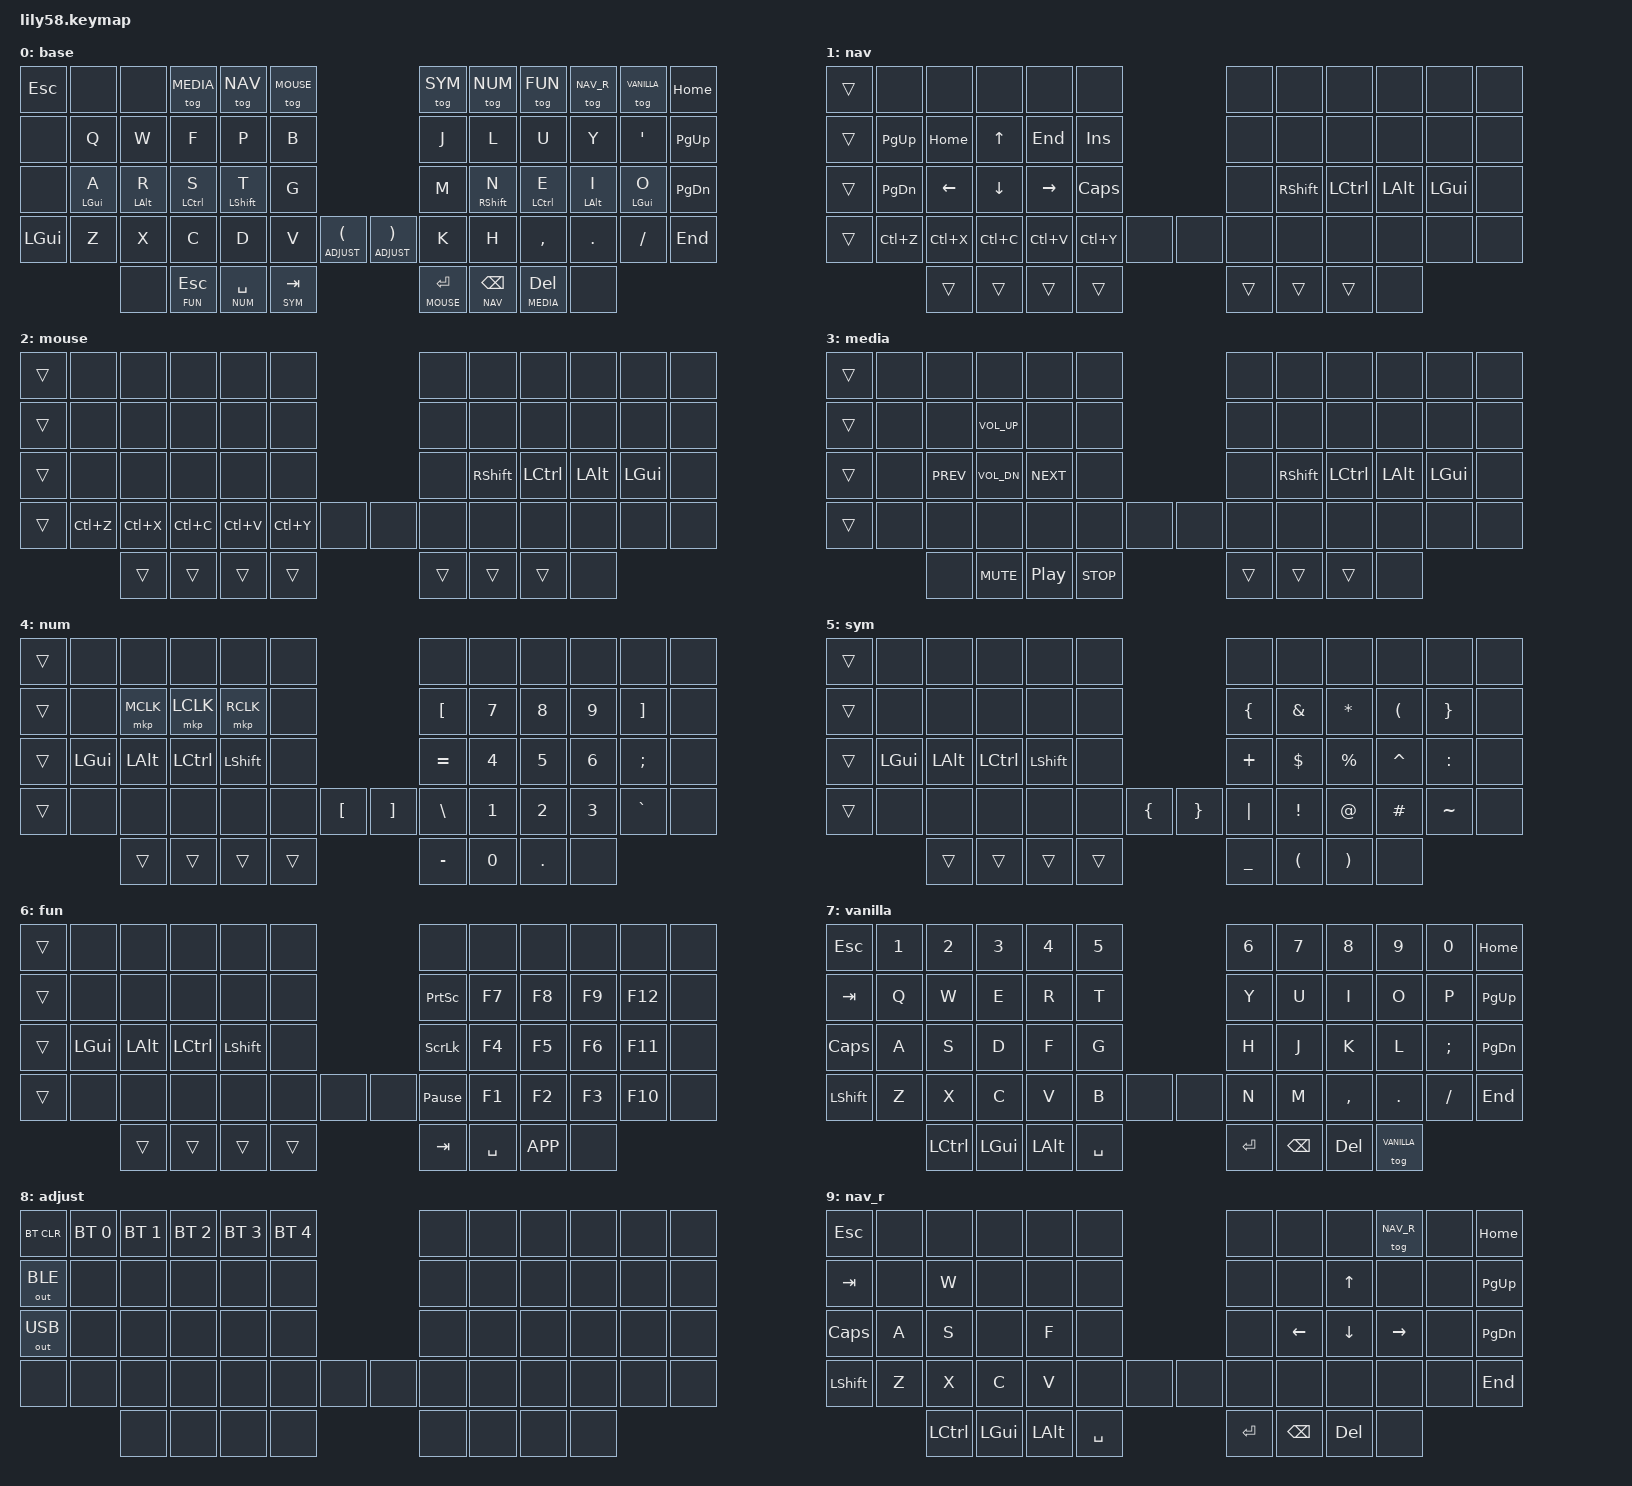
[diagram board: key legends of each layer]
/*
 * Copyright (c) 2020 The ZMK Contributors
 *
 * SPDX-License-Identifier: MIT
 */

#include <behaviors.dtsi>
#include <dt-bindings/zmk/keys.h>
#include <dt-bindings/zmk/bt.h>
#include <dt-bindings/zmk/ext_power.h>
#include <dt-bindings/zmk/outputs.h>
#include <dt-bindings/zmk/mouse.h>
#include "../zmk-nodefree-config/helper.h"

#define BASE    0
#define NAV     1
#define MOUSE   2
#define MEDIA   3
#define NUM     4
#define SYM     5
#define FUN     6
#define VANILLA 7
#define ADJUST  8
#define NAV_R   9

&lt {
    quick_tap_ms = <200>;
};

&mmv {
    time-to-max-speed-ms = <50>;
};

&mwh {
    acceleration-exponent=<1>;
};

/ {
    behaviors {
        hm: homerow_mods {
            compatible = "zmk,behavior-hold-tap";
            label = "HOMEROW_MODS";
            #binding-cells = <2>;
            tapping-term-ms = <200>;
            quick_tap_ms = <200>;
            flavor = "tap-preferred";
            bindings = <&kp>, <&kp>;
        };
    };

	keymap {
		compatible = "zmk,keymap";

		base {
			bindings = <
&kp ESC         &none           &none           &tog MEDIA      &tog NAV        &tog MOUSE                              &tog SYM        &tog NUM        &tog FUN        &tog NAV_R      &tog VANILLA   &kp HOME
&none           &kp Q           &kp W           &kp F           &kp P           &kp B                                   &kp J           &kp L           &kp U           &kp Y           &kp SQT        &kp PG_UP
&none           &hm LGUI A      &hm LALT R      &hm LCTRL S     &hm LSHFT T     &kp G                                   &kp M           &hm RSHIFT N    &hm LCTRL E     &hm LALT I      &hm LGUI O     &kp PG_DN
&kp LGUI        &kp Z           &kp X           &kp C           &kp D           &kp V  &lt ADJUST LPAR  &lt ADJUST RPAR &kp K           &kp H           &kp COMMA       &kp DOT         &kp FSLH       &kp END
                                &none           &lt FUN ESC     &lt NUM SPACE   &lt SYM TAB                             &lt MOUSE RET   &lt NAV BSPC    &lt MEDIA DEL   &none
			>;
		};

		nav {
			bindings = <
&trans          &none           &none           &none           &none           &none                                   &none           &none           &none           &none           &none          &none
&trans          &kp PG_UP       &kp HOME        &kp UP          &kp END         &kp INS                                 &none           &none           &none           &none           &none          &none
&trans          &kp PG_DN       &kp LEFT        &kp DOWN        &kp RIGHT       &kp CAPS                                &none           &kp RSHFT       &kp LCTRL       &kp LALT        &kp LGUI       &none
&trans          &kp LC(Z)       &kp LC(X)       &kp LC(C)       &kp LC(V)       &kp LC(Y)       &none       &none       &none           &none           &none           &none           &none          &none
                                &trans          &trans          &trans          &trans                                  &trans          &trans          &trans          &none
			>;
		};

		mouse {
			bindings = <
&trans          &none           &none           &none           &none           &none                                   &none           &none           &none           &none           &none          &none
&trans          &none           &none           &none           &none           &none                                   &none           &none           &none           &none           &none          &none
&trans          &none           &none           &none           &none           &none                                   &none           &kp RSHFT       &kp LCTRL       &kp LALT        &kp LGUI       &none
&trans          &kp LC(Z)       &kp LC(X)       &kp LC(C)       &kp LC(V)       &kp LC(Y)       &none       &none       &none           &none           &none           &none           &none          &none
                                &trans          &trans          &trans          &trans                                  &trans          &trans          &trans          &none
			>;
		};

		media {
			bindings = <
&trans          &none           &none           &none           &none           &none                                   &none           &none           &none           &none           &none          &none
&trans          &none           &none           &kp C_VOL_UP    &none           &none                                   &none           &none           &none           &none           &none          &none
&trans          &none           &kp C_PREV      &kp C_VOL_DN    &kp C_NEXT      &none                                   &none           &kp RSHFT       &kp LCTRL       &kp LALT        &kp LGUI       &none
&trans          &none           &none           &none           &none           &none           &none       &none       &none           &none           &none           &none           &none          &none
                                &none           &kp C_MUTE      &kp C_PP        &kp C_STOP                              &trans          &trans          &trans          &none
			>;
		};

		num {
			bindings = <
&trans          &none           &none           &none           &none           &none                                   &none           &none           &none           &none           &none          &none
&trans          &none           &mkp MCLK       &mkp LCLK       &mkp RCLK       &none                                   &kp LBKT        &kp N7          &kp N8          &kp N9          &kp RBKT       &none
&trans          &kp LGUI        &kp LALT        &kp LCTRL       &kp LSHFT       &none                                   &kp EQUAL       &kp N4          &kp N5          &kp N6          &kp SEMI       &none
&trans          &none           &none           &none           &none           &none           &kp LBKT    &kp RBKT    &kp BSLH        &kp N1          &kp N2          &kp N3          &kp GRAVE      &none
                                &trans          &trans          &trans          &trans                                  &kp MINUS       &kp N0          &kp DOT         &none
			>;
		};

		sym {
			bindings = <
&trans          &none           &none           &none           &none           &none                                   &none           &none           &none           &none           &none          &none
&trans          &none           &none           &none           &none           &none                                   &kp LBRC        &kp AMPS        &kp ASTRK       &kp LPAR        &kp RBRC       &none
&trans          &kp LGUI        &kp LALT        &kp LCTRL       &kp LSHFT       &none                                   &kp PLUS        &kp DLLR        &kp PRCNT       &kp CARET       &kp COLON      &none
&trans          &none           &none           &none           &none           &none           &kp LBRC    &kp RBRC    &kp PIPE        &kp EXCL        &kp AT          &kp HASH        &kp TILDE      &none
                                &trans          &trans          &trans          &trans                                  &kp UNDER       &kp LPAR        &kp RPAR        &none
			>;
		};

		fun {
			bindings = <
&trans          &none           &none           &none           &none           &none                                   &none           &none           &none           &none           &none          &none
&trans          &none           &none           &none           &none           &none                                   &kp PSCRN       &kp F7          &kp F8          &kp F9          &kp F12        &none
&trans          &kp LGUI        &kp LALT        &kp LCTRL       &kp LSHFT       &none                                   &kp SLCK        &kp F4          &kp F5          &kp F6          &kp F11        &none
&trans          &none           &none           &none           &none           &none           &none       &none       &kp PAUSE_BREAK &kp F1          &kp F2          &kp F3          &kp F10        &none
                                &trans          &trans          &trans          &trans                                  &kp TAB         &kp SPACE       &kp K_APP       &none
			>;
		};

		vanilla {
			bindings = <
&kp ESC         &kp N1          &kp N2          &kp N3          &kp N4          &kp N5                                  &kp N6          &kp N7          &kp N8          &kp N9          &kp N0         &kp HOME
&kp TAB         &kp Q           &kp W           &kp E           &kp R           &kp T                                   &kp Y           &kp U           &kp I           &kp O           &kp P          &kp PG_UP
&kp CAPS        &kp A           &kp S           &kp D           &kp F           &kp G                                   &kp H           &kp J           &kp K           &kp L           &kp SEMI       &kp PG_DN
&kp LSHFT       &kp Z           &kp X           &kp C           &kp V           &kp B           &none       &none       &kp N           &kp M           &kp COMMA       &kp DOT         &kp FSLH       &kp END
                                &kp LCTRL       &kp LGUI        &kp LALT        &kp SPACE                               &kp RET         &kp BSPC        &kp DEL         &tog VANILLA
			>;
		};

		adjust {
			bindings = <
&bt BT_CLR      &bt BT_SEL 0    &bt BT_SEL 1    &bt BT_SEL 2    &bt BT_SEL 3    &bt BT_SEL 4                            &none           &none           &none           &none           &none          &none
&out OUT_BLE    &none           &none           &none           &none           &none                                   &none           &none           &none           &none           &none          &none
&out OUT_USB    &none           &none           &none           &none           &none                                   &none           &none           &none           &none           &none          &none
&none           &none           &none           &none           &none           &none           &none       &none       &none           &none           &none           &none           &none          &none
                                &none           &none           &none           &none                                   &none           &none           &none           &none
			>;
		};

		nav_r {
			bindings = <
&kp ESC         &none           &none           &none           &none           &none                                   &none           &none           &none           &tog NAV_R      &none          &kp HOME
&kp TAB         &none           &kp W           &none           &none           &none                                   &none           &none           &kp UP          &none           &none          &kp PG_UP
&kp CAPS        &kp A           &kp S           &none           &kp F           &none                                   &none           &kp LEFT        &kp DOWN        &kp RIGHT       &none          &kp PG_DN
&kp LSHFT       &kp Z           &kp X           &kp C           &kp V           &none           &none       &none       &none           &none           &none           &none           &none          &kp END
                                &kp LCTRL       &kp LGUI        &kp LALT        &kp SPACE                               &kp RET         &kp BSPC        &kp DEL         &none
			>;
		};
	};
};
